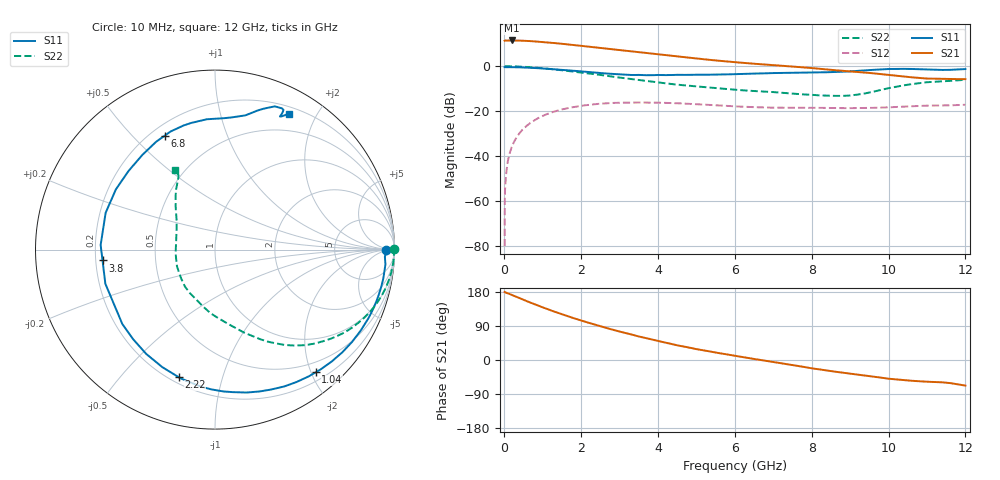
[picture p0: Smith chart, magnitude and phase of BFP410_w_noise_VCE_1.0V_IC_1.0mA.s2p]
! Infineon Technologies  Discrete & RF Semiconductors
! BFP410
! VCE =  1.0 V,  IC =  1.0 mA
! Common Emitter S-Parameters:  Nov 2015
# GHz  S  MA  R  50
!  f  S11  S21  S12  S22
! GHz  MAG  ANG  MAG  ANG  MAG  ANG  MAG  ANG
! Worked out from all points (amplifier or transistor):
!   243 points, 10 MHz to 12 GHz, reference 50 ohm
!   highest |S21| = 11.4 dB at 195 MHz (marker M1)
!   |S21| within 3 dB of that: start of sweep to 2.341 GHz
!   unconditionally stable (mu >= 1): start of sweep to 10.08 MHz; 4.601 GHz to end of sweep
!   at 240 MHz: K = 0.02, MSG = 22.8 dB, |S12| = -34.2 dB
!   at 1.84 GHz: K = 0.31, MSG = 13.7 dB, |S12| = -18.0 dB
!   at 12 GHz: K = 1.30, MAG = 2.4 dB, |S12| = -17.1 dB
!   lowest NFmin = 0.79 dB at 900 MHz
!   S11 on the Smith chart (normalised r, x): 10 MHz: 41, -3; 1.04 GHz: 0.33, -2.07; 2.22 GHz: 0.23, -0.73; 3.8 GHz: 0.23, -0.05; 6.8 GHz: 0.25, +0.62; 12 GHz: 0.28, +1.65
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0.01  0.9522 -0.2  3.676 179.7  0.0001 34.6  0.9987 0.3
0.015  0.9532 -0.5  3.698 179.5  0.0009 83.6  0.9972 0.1
0.02  0.9542 -0.8  3.721 179.3  0.0017 86.1  0.9958 -0.2
0.035  0.9507 -1.6  3.712 178.3  0.0028 87.8  0.9966 -0.8
0.095  0.9524 -4.7  3.725 176.0  0.0078 87.2  0.9968 -2.6
0.195  0.9514 -9.4  3.73 171.9  0.0159 84.4  0.9935 -5.5
0.6  0.9288 -29.1  3.639 154.7  0.0485 72.6  0.9585 -16.6
1.04  0.8844 -50.6  3.424 137.5  0.0812 59.6  0.8927 -27.6
1.3  0.8544 -63.2  3.271 127.7  0.098 52.1  0.8478 -33.6
1.58  0.8178 -76.5  3.093 117.8  0.1132 44.3  0.7971 -39.4
2.02  0.7647 -96.6  2.82 103.7  0.1324 33.4  0.7224 -47.5
2.22  0.7394 -105.8  2.71 97.4  0.1393 28.6  0.687 -51.0
3  0.662 -141.3  2.291 75.1  0.1545 11.4  0.5586 -63.3
3.8  0.6295 -174.5  1.923 55.2  0.1549 -2.0  0.4578 -74.5
4.1  0.6345 174.4  1.807 48.0  0.1536 -6.4  0.4259 -79.0
5  0.6462 148.7  1.485 28.7  0.1432 -17.2  0.3555 -94.0
6.1  0.6676 125.7  1.208 9.5  0.1268 -23.9  0.2954 -111.3
6.8  0.694 113.7  1.084 -2.1  0.1209 -25.1  0.2708 -125.1
8.2  0.729 89.9  0.875 -24.7  0.1186 -27.7  0.2245 -163.2
9  0.7665 77.3  0.765 -36.1  0.1167 -28.0  0.2231 165.5
10.2  0.8677 65.9  0.614 -51.2  0.1241 -27.6  0.3495 128.9
12  0.8627 61.4  0.516 -67.5  0.1389 -34.9  0.4982 116.9
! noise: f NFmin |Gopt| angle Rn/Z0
0.45  0.82  0.68  9  0.45
0.9  0.79  0.65  23  0.41
1.8  1.13  0.53  57  0.35
2.4  1.23  0.5  71  0.31
5.5  2.66  0.44  -153  0.19
